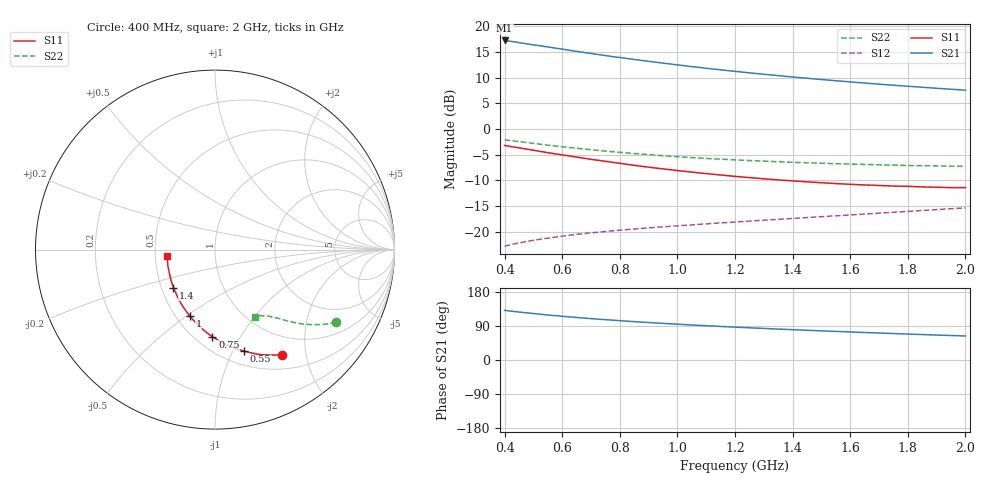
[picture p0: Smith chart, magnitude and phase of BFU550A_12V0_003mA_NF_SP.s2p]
! Filename:  P:\Prog\Test\Noise\ATS_data\Testdata_Net\06 Compressed Noise after Statistics\BFU550A_APG2013_35_C05_12p0V_003mA_NF_CM01_D.sf
! Date/Time: Tue 16/Apr/2013 15:11:32
! BFU550A_APG2013_35_C05_12p0V_1to35mA_NF_CM01_Bias3_R.sf
! Noise Parameter Data File
! BFU550A_APG2013_35_C05_12p0V_1to35mA_NF_CM01
! Date/time: Mon Apr 15 18:57:59 2013
! VAR V_out= 12.000000
! VAR I_out= 3.000000
! VAR V_in= 0.797400
! VAR I_in= 0.024505
! Device data file deembeded for feedlines and parallel
! Original file: \06 Compressed Noise after Statistics\BFU550A_APG2013_35_C05_12p0V_003mA_NF_CM01_R.sf
! Feed-files: PR017V01_150413_Feed1.s2p, PR017V01_150413_Feed2.s2p
! Parallel-file: PR017V01_150413_Par.s2p
# MHz S MA R 50
!  Freq-MHz  S11-mag  S11-arg  S21-mag  S21-arg  S12-mag  S12-arg  S22-mag  S22-arg
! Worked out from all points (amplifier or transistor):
!   37 points, 400 MHz to 2 GHz, reference 50 ohm
!   highest |S21| = 17.3 dB at 400 MHz (marker M1)
!   |S21| within 3 dB of that: start of sweep to 757.3 MHz
!   unconditionally stable (mu >= 1): 1.905 GHz to end of sweep
!   at 500 MHz: K = 0.43, MSG = 19.0 dB, |S12| = -21.6 dB
!   at 1.1 GHz: K = 0.79, MSG = 15.1 dB, |S12| = -18.4 dB
!   at 2 GHz: K = 1.01, MAG = 10.9 dB, |S12| = -15.3 dB
!   lowest NFmin = 0.56 dB at 400 MHz
!   S11 on the Smith chart (normalised r, x): 400 MHz: 0.70, -1.58; 550 MHz: 0.64, -1.11; 750 MHz: 0.60, -0.77; 1 GHz: 0.59, -0.51; 1.4 GHz: 0.58, -0.27; 2 GHz: 0.58, -0.05
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400  0.6926 -57.7  7.287 131.0  0.07261 60.6  0.7859 -30.8
420  0.6781 -60.0  7.156 129.2  0.07494 59.8  0.7736 -31.8
440  0.6634 -62.3  7.018 127.4  0.07709 59.0  0.7614 -32.6
480  0.6372 -66.6  6.729 124.2  0.08102 57.6  0.7372 -34.3
500  0.623 -68.7  6.606 122.6  0.08292 57.0  0.7261 -35.1
550  0.5896 -74.0  6.301 118.8  0.08697 55.7  0.6971 -36.8
600  0.561 -78.7  6.001 115.3  0.09093 54.6  0.673 -38.3
650  0.5343 -83.2  5.702 112.2  0.09463 53.7  0.6513 -39.7
700  0.5082 -87.6  5.447 109.2  0.09777 53.0  0.6301 -40.9
750  0.486 -91.7  5.192 106.4  0.1009 52.5  0.6114 -41.9
800  0.4647 -95.8  4.972 103.8  0.1039 52.1  0.5944 -42.9
850  0.4444 -99.8  4.76 101.2  0.1067 51.8  0.5781 -43.8
950  0.4101 -107.3  4.386 96.6  0.1119 51.5  0.551 -45.5
1000  0.3954 -110.8  4.216 94.5  0.1145 51.5  0.5396 -46.2
1100  0.3691 -117.9  3.91 90.5  0.1196 51.7  0.5186 -47.5
1200  0.3468 -124.7  3.648 86.8  0.1247 52.0  0.5018 -48.8
1300  0.3284 -131.1  3.418 83.3  0.1298 52.4  0.4881 -50.1
1400  0.3136 -137.6  3.217 80.0  0.135 53.0  0.4754 -51.3
1500  0.3009 -143.9  3.037 76.9  0.1405 53.5  0.4651 -52.6
1600  0.2904 -149.7  2.879 74.0  0.1461 54.1  0.4571 -53.9
1750  0.2792 -158.5  2.673 69.8  0.1551 55.0  0.4461 -55.8
2000  0.2695 -172.1  2.392 63.4  0.1713 56.2  0.4341 -59.4
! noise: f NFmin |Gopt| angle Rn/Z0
400  0.5579  0.4488  17.98  0.173
460  0.5745  0.3576  31.18  0.1548
600  0.6782  0.2989  31.5  0.1653
800  0.6532  0.3261  52.06  0.1379
1000  0.6852  0.3216  65.13  0.1278
1200  0.7262  0.2817  79.21  0.1252
1400  0.8188  0.2389  87.2  0.1178
1600  0.7371  0.3607  105.8  0.0921
1800  0.7556  0.3894  124.3  0.0618
2000  0.7809  0.2402  147  0.087
